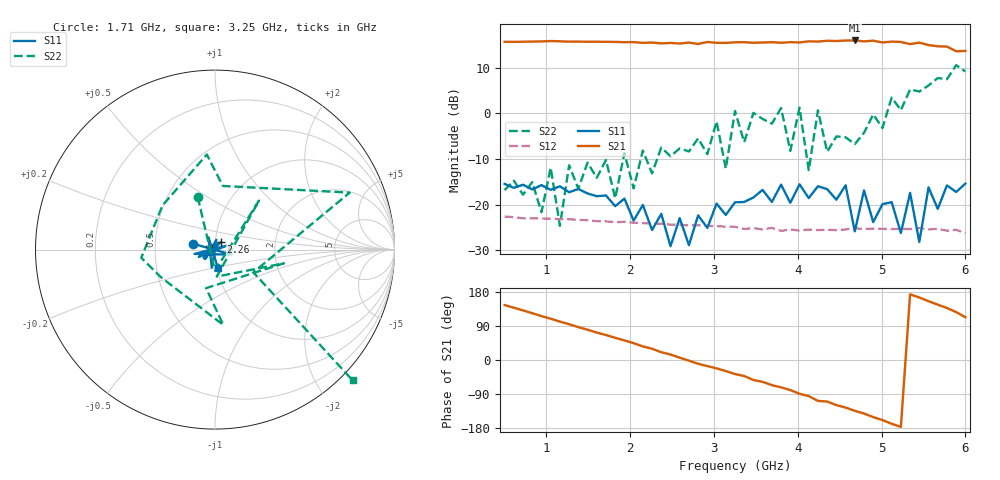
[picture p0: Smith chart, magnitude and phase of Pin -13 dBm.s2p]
! RsaToolbox (C) 2015 Rohde & Schwarz America
! Number of points: 51
! Number of ports: 2
! Balanced ports?: No
# Hz S RI R 50
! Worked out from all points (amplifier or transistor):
!   51 points, 500 MHz to 6 GHz, reference 50 ohm
!   highest |S21| = 15.9 dB at 4.68 GHz (marker M1)
!   |S21| within 3 dB of that: start of sweep to end of sweep
!   unconditionally stable (mu >= 1): start of sweep to 3.003 GHz; 3.047 GHz to 3.217 GHz; 4.291 GHz to 4.8 GHz (the widest 3 of 6)
!   at 1.38 GHz: K = 1.34, MAG = 16.0 dB, |S12| = -23.3 dB
!   at 3.25 GHz: K = 0.06, MSG = 20.2 dB, |S12| = -24.8 dB
!   at 6 GHz: K = -14.71, MSG = 20.0 dB, |S12| = -26.3 dB
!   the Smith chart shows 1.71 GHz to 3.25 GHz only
!   S11 on the Smith chart (normalised r, x): 1.71 GHz: 0.78, +0.05; 2.26 GHz: 1.06, +0.09; 3.25 GHz: 1.01, -0.21
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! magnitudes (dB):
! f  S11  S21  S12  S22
! 500 MHz  -15.5  15.6  -22.6  -16.8
! 940 MHz  -15.7  15.7  -23.0  -21.7
! 1.05 GHz  -16.7  15.8  -23.1  -11.9
! 1.16 GHz  -16.0  15.8  -23.1  -24.6
! 1.27 GHz  -17.3  15.7  -23.2  -11.4
! 1.49 GHz  -17.5  15.6  -23.4  -10.8
! 1.71 GHz  -18.0  15.6  -23.6  -10.2
! 2.26 GHz  -25.5  15.5  -24.1  -13.1
! 2.37 GHz  -22.0  15.3  -24.1  -7.5
! 2.7 GHz  -28.9  15.5  -24.5  -8.4
! 3.03 GHz  -19.8  15.4  -24.7  -1.8
! 3.14 GHz  -22.2  15.4  -24.8  -12.1
! 3.25 GHz  -19.5  15.5  -24.8  0.5
! 3.91 GHz  -19.6  15.6  -25.4  -8.2
! 4.02 GHz  -15.5  15.5  -25.7  1.2
! 4.13 GHz  -18.6  15.8  -25.4  -12.5
! 4.24 GHz  -16.0  15.7  -25.5  0.6
! 4.68 GHz  -25.8  15.9  -25.2  -6.7
! 5.12 GHz  -19.4  15.7  -25.3  3.4
! 5.45 GHz  -28.1  15.5  -25.1  4.8
! 5.56 GHz  -16.2  14.9  -25.4  6.1
! 6 GHz  -15.4  13.6  -26.3  9.2
